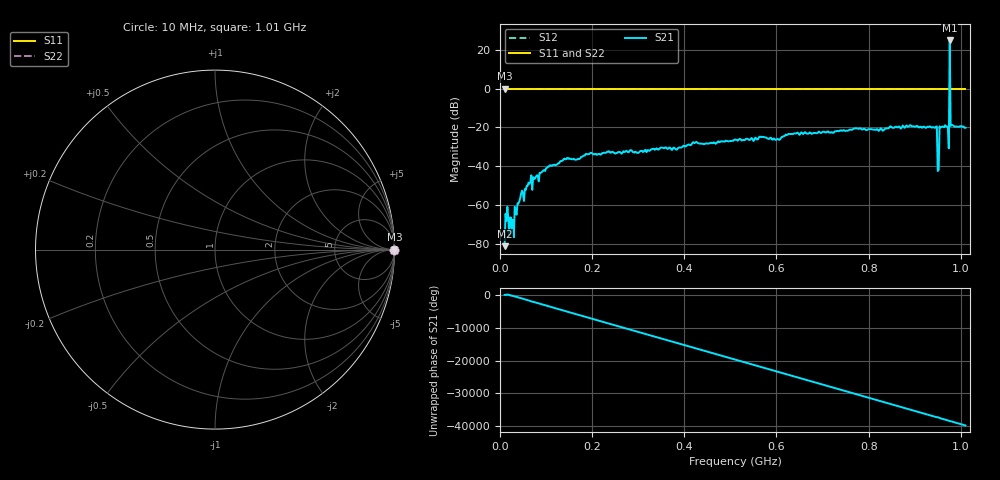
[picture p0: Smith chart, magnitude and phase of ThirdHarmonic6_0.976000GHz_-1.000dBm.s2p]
! 8/16/2025 7:29:33 AM
! C:\ANRITSUVNA\TEMP\TEMP.S2P
! CHANNEL.1
! TR.MEASUREMENT
! RAW.DATA
! RF.CORRECTION.OFF
! AVERAGING.OFF
! IF.BANDWIDTH: 5KHZ
! SWEEPTYPE:  FREQ.SWEEP(Linear)
! Reference Plane Port Info
! PORT:  PORT1  PORT2
! DISTANCE:  0  m  0  m
! TIME:  0  s  0  s
! PHASE.OFFSET:  0  deg.  0  deg.
! LOSS:  0  dB  0  dB
! REF.LOSS:  0  dB  0  dB
! REF.FREQ:  0  Hz  0  Hz
! Power Info
! POWER:  -20  dBm  -20  dBm
! EFF.POWER:  -20  dBm  -20  dBm
! SOURCE.ATTEN:  0  dB  0  dB
! TEST.ATTEN:  0  dB  0  dB
# GHZ S RI R 50.0
! FREQ.GHZ  S11RE  S11IM  S21RE  S21IM  S12RE  S12IM  S22RE  S22IM
!; PortSelection: Port_12
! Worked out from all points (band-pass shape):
!   501 points, 10 MHz to 1.01 GHz, reference 50 ohm
!   highest |S21| = 24.78 dB at 976 MHz (marker M1); lowest = -81.1 dB at 10 MHz (marker M2)
!   |S21| within 3 dB of the highest: 975.892 MHz to 976.1362 MHz (244.3 kHz wide, 0.025 % of centre)
!   lowest |S11| = 0.0 dB at 10 MHz (marker M3)
!   |S11| at or under -10 dB: nowhere
!   |S22| runs from 0.0 to 0.0 dB; largest |S21 - S12| = 16
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0.01  1 0  -5.35e-05 6.99e-05  1 0  1 0
0.014  1 0  -0.000251 0.000306  1 0  1 0
0.026  1 0  -0.000197 -8.26e-05  1 0  1 0
0.044  1 0  -0.00062 -0.00143  1 0  1 0
0.064  1 0  -0.0024 0.00263  1 0  1 0
0.106  1 0  -0.00758 -0.00627  1 0  1 0
0.178  1 0  -0.0176 -0.00115  1 0  1 0
0.344  1 0  0.0253 -0.00856  1 0  1 0
0.51  1 0  -0.0428 0.0236  1 0  1 0
0.678  1 0  -0.0484 -0.0498  1 0  1 0
0.844  1 0  0.0943 0.0234  1 0  1 0
0.944  1 0  0.0338 -0.0919  1 0  1 0
0.948  1 0  -0.0646 0.0843  1 0  1 0
0.954  1 0  -0.0471 -0.0956  1 0  1 0
0.958  1 0  0.00657 0.1032  1 0  1 0
0.968  1 0  0.0802 0.07  1 0  1 0
0.97  1 0  0.0801 -0.069  1 0  1 0
0.972  1 0  -0.0551 -0.0868  1 0  1 0
0.976  1 0  16.55 -5.15  1 0  1 0
0.98  1 0  0.0155 -0.116  1 0  1 0
0.982  1 0  -0.1104 -0.0284  1 0  1 0
1.01  1 0  -0.0795 0.0571  1 0  1 0
